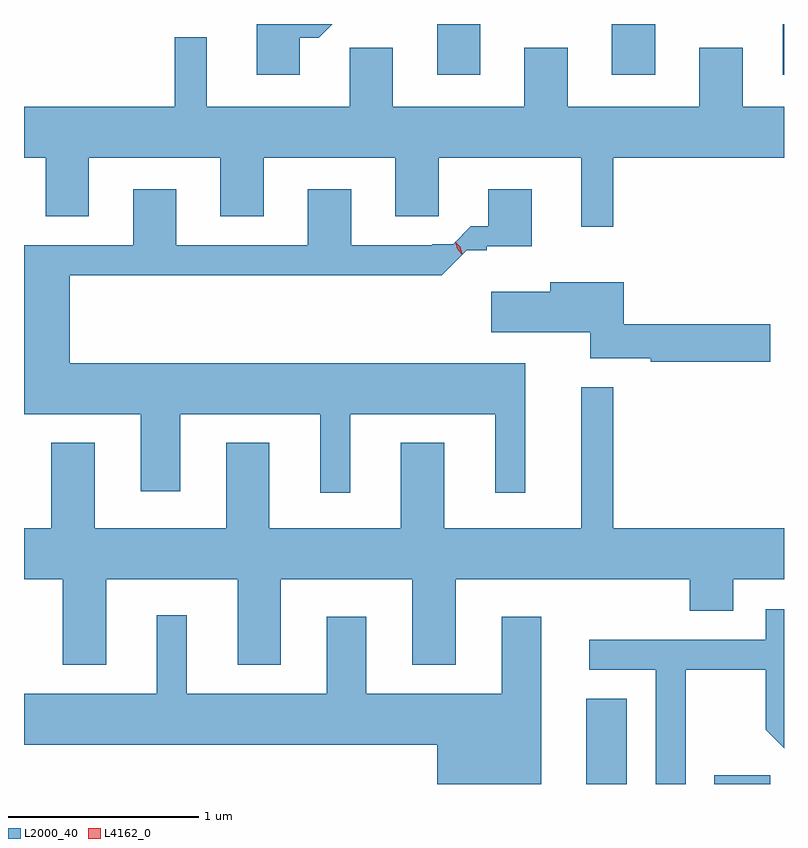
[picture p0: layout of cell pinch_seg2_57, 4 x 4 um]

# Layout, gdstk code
import gdstk
lib = gdstk.Library(unit=1e-6, precision=1e-09)
def R(c, l, rs):  # rectangles x0, y0, x1, y1
    for r in rs: c.add(gdstk.rectangle(r[:2], r[2:], *l))
def P(c, l, *ps):  # polygons
    for p in ps: c.add(gdstk.Polygon(p, *l))
L2000_40 = (2000, 40)
L4162_0 = (4162, 0)

pinch_seg2_57 = lib.new_cell('pinch_seg2_57')
R(pinch_seg2_57, L2000_40, [(1219.846,1104.959,1220.059,1105.409), (1220.521,1104.959,1220.814,1105.004), (1219.061,1108.691,1219.289,1108.959), (1219.981,1108.691,1220.209,1108.959), (1220.881,1108.691,1220.887,1108.959)])
P(pinch_seg2_57, L2000_40, [(1218.339,1108.886),(1218.437,1108.886),(1218.51,1108.959),(1218.111,1108.959),(1218.111,1108.691),(1218.339,1108.691)],
  [(1219.989,1108.256),(1220.887,1108.256),(1220.887,1108.524),(1220.669,1108.524),(1220.669,1108.834),(1220.441,1108.834),(1220.441,1108.524),(1219.749,1108.524),(1219.749,1108.834),(1219.521,1108.834),(1219.521,1108.524),(1218.829,1108.524),(1218.829,1108.834),(1218.601,1108.834),(1218.601,1108.524),(1217.849,1108.524),(1217.849,1108.888),(1217.681,1108.888),(1217.681,1108.524),(1216.887,1108.524),(1216.887,1108.256),(1217.001,1108.256),(1217.001,1107.946),(1217.229,1107.946),(1217.229,1108.256),(1217.921,1108.256),(1217.921,1107.946),(1218.149,1107.946),(1218.149,1108.256),(1218.841,1108.256),(1218.841,1107.946),(1219.069,1107.946),(1219.069,1108.256),(1219.821,1108.256),(1219.821,1107.893),(1219.989,1107.893)],
  [(1218.604,1106.906),(1219.366,1106.906),(1219.366,1106.493),(1219.524,1106.493),(1219.524,1107.174),(1217.129,1107.174),(1217.129,1107.636),(1219.086,1107.636),(1219.217,1107.767),(1219.323,1107.767),(1219.323,1107.788),(1219.559,1107.788),(1219.559,1108.089),(1219.331,1108.089),(1219.331,1107.894),(1219.239,1107.894),(1219.146,1107.801),(1219.035,1107.801),(1219.035,1107.794),(1218.609,1107.794),(1218.609,1108.089),(1218.381,1108.089),(1218.381,1107.794),(1217.689,1107.794),(1217.689,1108.089),(1217.461,1108.089),(1217.461,1107.794),(1216.887,1107.794),(1216.887,1106.906),(1217.501,1106.906),(1217.501,1106.501),(1217.709,1106.501),(1217.709,1106.906),(1218.446,1106.906),(1218.446,1106.493),(1218.604,1106.493)],
  [(1220.814,1107.379),(1220.044,1107.379),(1220.044,1107.599),(1219.656,1107.599),(1219.656,1107.549),(1219.346,1107.549),(1219.346,1107.336),(1219.866,1107.336),(1219.866,1107.201),(1220.186,1107.201),(1220.186,1107.181),(1220.814,1107.181)],
  [(1217.031,1106.304),(1216.887,1106.304),(1216.887,1106.036),(1217.091,1106.036),(1217.091,1105.586),(1217.319,1105.586),(1217.319,1106.036),(1218.011,1106.036),(1218.011,1105.586),(1218.239,1105.586),(1218.239,1106.036),(1218.931,1106.036),(1218.931,1105.586),(1219.159,1105.586),(1219.159,1106.036),(1220.391,1106.036),(1220.391,1105.871),(1220.619,1105.871),(1220.619,1106.036),(1220.887,1106.036),(1220.887,1106.304),(1219.989,1106.304),(1219.989,1107.048),(1219.821,1107.048),(1219.821,1106.304),(1219.099,1106.304),(1219.099,1106.754),(1218.871,1106.754),(1218.871,1106.304),(1218.179,1106.304),(1218.179,1106.754),(1217.951,1106.754),(1217.951,1106.304),(1217.259,1106.304),(1217.259,1106.754),(1217.031,1106.754)],
  [(1220.369,1105.561),(1220.791,1105.561),(1220.791,1105.244),(1220.887,1105.148),(1220.887,1105.879),(1220.791,1105.879),(1220.791,1105.719),(1219.863,1105.719),(1219.863,1105.561),(1220.211,1105.561),(1220.211,1104.959),(1220.369,1104.959)],
  [(1219.609,1105.839),(1219.401,1105.839),(1219.401,1105.434),(1218.689,1105.434),(1218.689,1105.839),(1218.481,1105.839),(1218.481,1105.434),(1217.744,1105.434),(1217.744,1105.848),(1217.586,1105.848),(1217.586,1105.434),(1216.887,1105.434),(1216.887,1105.166),(1219.061,1105.166),(1219.061,1104.959),(1219.609,1104.959)])
P(pinch_seg2_57, L4162_0, [(1219.192,1107.748),(1219.166,1107.776),(1219.156,1107.813),(1219.156,1107.814),(1219.157,1107.814),(1219.183,1107.786),(1219.193,1107.749),(1219.193,1107.748)],
  [(1219.192,1107.755),(1219.191,1107.756),(1219.167,1107.776),(1219.159,1107.807),(1219.16,1107.808),(1219.16,1107.807),(1219.184,1107.787),(1219.192,1107.756)])

lib.write_gds('pinch_seg2_57.gds')
